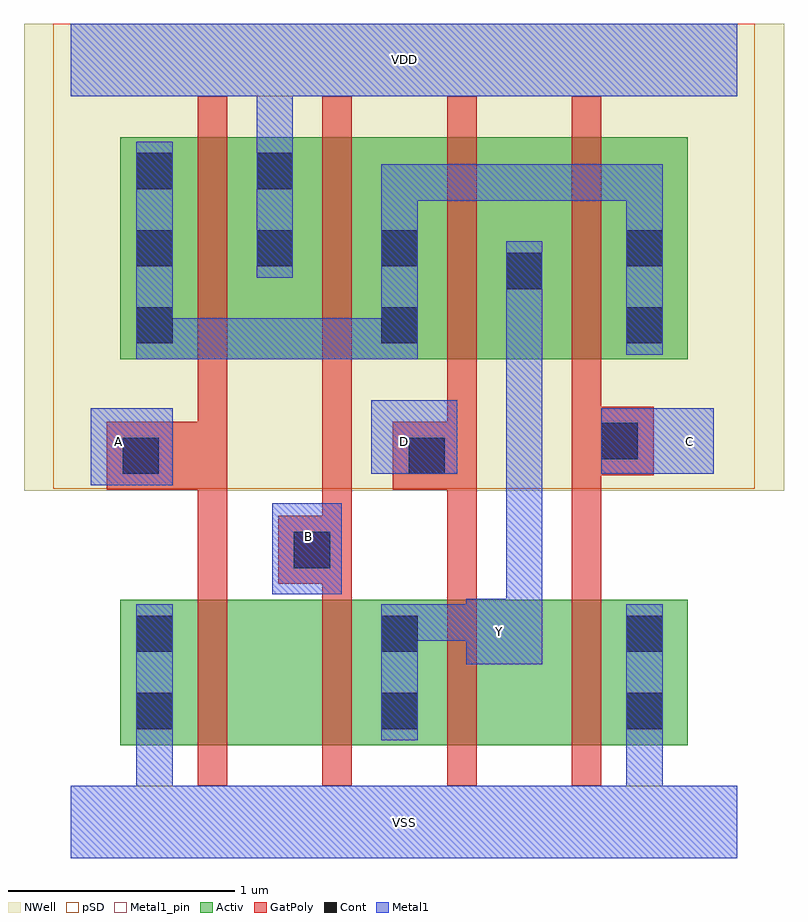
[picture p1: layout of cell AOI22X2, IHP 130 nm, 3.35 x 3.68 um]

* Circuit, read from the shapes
.subckt AOI22X2 A B C D VDD VSS Y
XM1 n1 A VSS VSUBS sg13_lv_nmos w=0.64u l=0.13u
XM2 Y B n1 VSUBS sg13_lv_nmos w=0.64u l=0.13u
XM3 n2 D Y VSUBS sg13_lv_nmos w=0.64u l=0.13u
XM4 VSS C n2 VSUBS sg13_lv_nmos w=0.64u l=0.13u
XM5 VDD A n3 n4 sg13_lv_pmos w=0.98u l=0.13u
XM6 n3 B VDD n4 sg13_lv_pmos w=0.98u l=0.13u
XM7 Y D n3 n4 sg13_lv_pmos w=0.98u l=0.13u
XM8 n3 C Y n4 sg13_lv_pmos w=0.98u l=0.13u
.ends

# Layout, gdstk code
import gdstk
lib = gdstk.Library(unit=1e-6, precision=1e-09)
def R(c, l, rs):  # rectangles x0, y0, x1, y1
    for r in rs: c.add(gdstk.rectangle(r[:2], r[2:], *l))
def A(c, l, x, y, w, h, nx, ny, dx, dy):  # array of equal rectangles
    R(c, l, [(x+i*dx, y+j*dy, x+i*dx+w, y+j*dy+h) for i in range(nx) for j in range(ny)])
def P(c, l, *ps):  # polygons
    for p in ps: c.add(gdstk.Polygon(p, *l))
Activ = (1, 0)
GatPoly = (5, 0)
Cont = (6, 0)
Metal1 = (8, 0)
Metal1_pin = (8, 2)
pSD = (14, 0)
NWell = (31, 0)

aoi22x2 = lib.new_cell('AOI22X2')
R(aoi22x2, Activ, [(0.22,0.34,2.72,0.98), (0.22,2.04,2.72,3.02)])
P(aoi22x2, GatPoly, [(2.21,0.16),(2.21,3.2),(2.34,3.2),(2.34,1.83),(2.57,1.83),(2.57,1.53),(2.34,1.53),(2.34,0.16)],
  [(1.66,0.16),(1.66,1.465),(1.42,1.465),(1.42,1.765),(1.66,1.765),(1.66,3.2),(1.79,3.2),(1.79,0.16)],
  [(1.11,0.16),(1.11,1.05),(0.915,1.05),(0.915,1.35),(1.11,1.35),(1.11,3.2),(1.24,3.2),(1.24,0.16)],
  [(0.56,0.16),(0.56,1.465),(0.16,1.465),(0.16,1.765),(0.56,1.765),(0.56,3.2),(0.69,3.2),(0.69,0.16)])
A(aoi22x2, Cont, 0.29, 0.41, 0.16, 0.16, 3, 2, 1.08, 0.34)
A(aoi22x2, Cont, 0.29, 2.11, 0.16, 0.16, 3, 1, 1.08, 0)
R(aoi22x2, Cont, [(0.985,1.12,1.145,1.28), (0.23,1.535,0.39,1.695), (1.49,1.535,1.65,1.695), (2.34,1.6,2.5,1.76), (1.92,2.35,2.08,2.51), (0.29,2.45,0.45,2.61), (0.82,2.45,0.98,2.61), (1.37,2.45,1.53,2.61), (2.45,2.45,2.61,2.61), (0.29,2.79,0.45,2.95), (0.82,2.79,0.98,2.95)])
R(aoi22x2, Metal1, [(0.89,1.005,1.195,1.405), (0.09,1.485,0.45,1.825), (1.325,1.535,1.705,1.86), (2.34,1.535,2.835,1.825)])
P(aoi22x2, Metal1, [(1.37,0.36),(1.37,0.96),(1.745,0.96),(1.745,0.985),(1.92,0.985),(1.92,2.56),(2.08,2.56),(2.08,0.695),(1.745,0.695),(1.745,0.8),(1.53,0.8),(1.53,0.36)],
  [(0,-0.16),(0,0.16),(0.29,0.16),(0.29,0.96),(0.45,0.96),(0.45,0.16),(2.45,0.16),(2.45,0.96),(2.61,0.96),(2.61,0.16),(2.94,0.16),(2.94,-0.16)],
  [(0.82,2.4),(0.82,3.2),(0,3.2),(0,3.52),(2.94,3.52),(2.94,3.2),(0.98,3.2),(0.98,2.4)],
  [(0.29,2.04),(0.29,3),(0.45,3),(0.45,2.22),(1.37,2.22),(1.37,2.9),(2.61,2.9),(2.61,2.06),(2.45,2.06),(2.45,2.74),(1.53,2.74),(1.53,2.04)])
R(aoi22x2, Metal1_pin, [(0,-0.16,2.94,0.16), (1.745,0.695,2.08,0.985), (0.89,1.005,1.195,1.405), (0.09,1.485,0.45,1.825), (1.325,1.535,1.705,1.86), (2.34,1.535,2.835,1.825), (0,3.2,2.94,3.52)])
P(aoi22x2, Metal1_pin, [(1.37,0.36),(1.37,0.96),(1.745,0.96),(1.745,0.985),(1.92,0.985),(1.92,2.56),(2.08,2.56),(2.08,0.695),(1.745,0.695),(1.745,0.8),(1.53,0.8),(1.53,0.36)])
R(aoi22x2, pSD, [(-0.075,1.47,3.015,3.52)])
R(aoi22x2, NWell, [(-0.205,1.46,3.145,3.52)])
aoi22x2.add(gdstk.Label('A', (0.21,1.68), layer=8, texttype=25))
aoi22x2.add(gdstk.Label('VSS', (1.47,0), layer=8, texttype=25))
aoi22x2.add(gdstk.Label('VDD', (1.47,3.36), layer=8, texttype=25))
aoi22x2.add(gdstk.Label('D', (1.47,1.68), layer=8, texttype=25))
aoi22x2.add(gdstk.Label('Y', (1.89,0.84), layer=8, texttype=25))
aoi22x2.add(gdstk.Label('B', (1.05,1.26), layer=8, texttype=25))
aoi22x2.add(gdstk.Label('C', (2.73,1.68), layer=8, texttype=25))

lib.write_gds('AOI22X2.gds')
